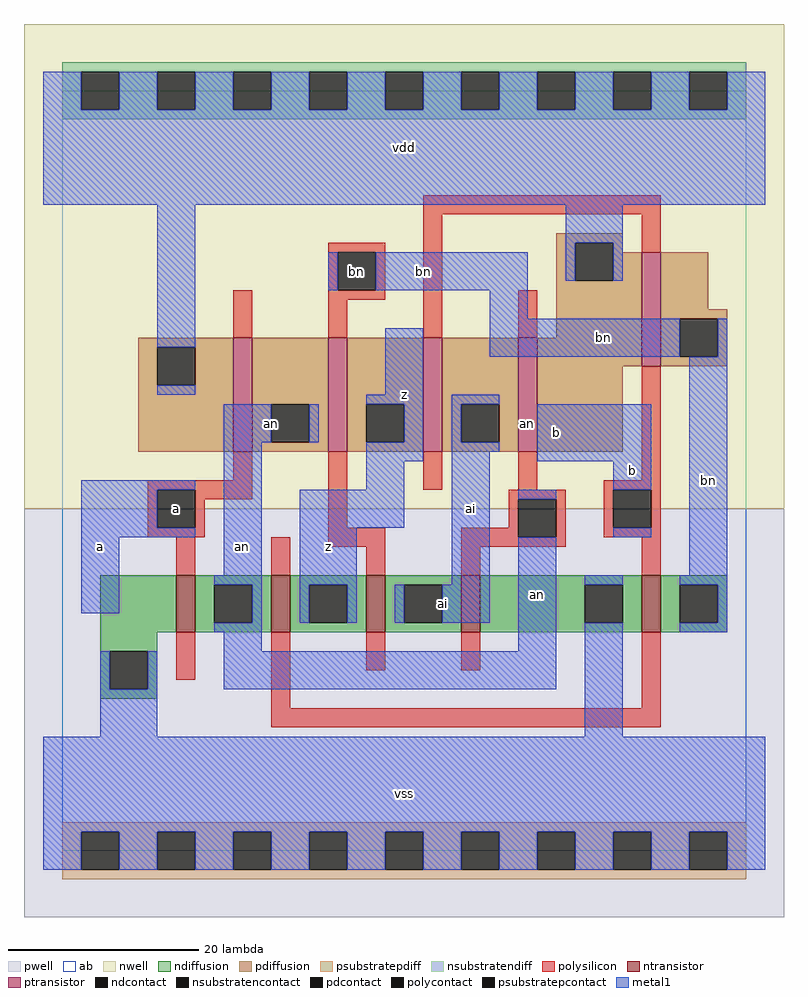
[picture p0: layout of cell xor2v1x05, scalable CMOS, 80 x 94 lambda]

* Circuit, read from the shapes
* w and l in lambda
.subckt xor2v1x05 a ai an b bn vdd vss z
M1 an a vss vss nfet w=6 l=2
M2 z b an vss nfet w=6 l=2
M3 ai bn z vss nfet w=6 l=2
M4 vss an ai vss nfet w=6 l=2
M5 bn b vss vss nfet w=6 l=2
M6 an a vdd vdd pfet w=12 l=2
M7 z bn an vdd pfet w=12 l=2
M8 ai b z vdd pfet w=12 l=2
M9 vdd an ai vdd pfet w=12 l=2
M10 bn b vdd vdd pfet w=12 l=2
.ends

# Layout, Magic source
magic
tech scmos
<< ab >>
rect 0 0 72 80
<< pwell >>
rect -4 -7 76 36
<< nwell >>
rect -4 36 76 87
<< polysilicon >>
rect 38 67 63 69
rect 28 63 34 64
rect 28 59 29 63
rect 33 59 34 63
rect 18 54 20 59
rect 28 58 34 59
rect 28 54 30 58
rect 38 54 40 67
rect 61 63 63 67
rect 48 54 50 59
rect 18 39 20 42
rect 9 38 20 39
rect 9 34 10 38
rect 14 37 20 38
rect 14 34 15 37
rect 9 33 15 34
rect 28 34 30 42
rect 38 38 40 42
rect 48 38 50 42
rect 61 39 63 51
rect 57 38 63 39
rect 47 37 53 38
rect 47 34 48 37
rect 12 29 14 33
rect 22 29 24 33
rect 28 32 34 34
rect 32 29 34 32
rect 42 33 48 34
rect 52 33 53 37
rect 57 34 58 38
rect 62 34 63 38
rect 57 33 63 34
rect 42 32 53 33
rect 42 29 44 32
rect 61 29 63 33
rect 12 18 14 23
rect 22 15 24 23
rect 32 19 34 23
rect 42 19 44 23
rect 61 15 63 23
rect 22 13 63 15
<< ndiffusion >>
rect 4 23 12 29
rect 14 28 22 29
rect 14 24 16 28
rect 20 24 22 28
rect 14 23 22 24
rect 24 28 32 29
rect 24 24 26 28
rect 30 24 32 28
rect 24 23 32 24
rect 34 28 42 29
rect 34 24 36 28
rect 40 24 42 28
rect 34 23 42 24
rect 44 28 61 29
rect 44 24 55 28
rect 59 24 61 28
rect 44 23 61 24
rect 63 28 70 29
rect 63 24 65 28
rect 69 24 70 28
rect 63 23 70 24
rect 4 21 10 23
rect 4 17 5 21
rect 9 17 10 21
rect 4 16 10 17
<< pdiffusion >>
rect 52 64 59 65
rect 52 60 54 64
rect 58 63 59 64
rect 58 60 61 63
rect 52 54 61 60
rect 8 53 18 54
rect 8 49 10 53
rect 14 49 18 53
rect 8 42 18 49
rect 20 47 28 54
rect 20 43 22 47
rect 26 43 28 47
rect 20 42 28 43
rect 30 47 38 54
rect 30 43 32 47
rect 36 43 38 47
rect 30 42 38 43
rect 40 47 48 54
rect 40 43 42 47
rect 46 43 48 47
rect 40 42 48 43
rect 50 51 61 54
rect 63 57 68 63
rect 63 56 70 57
rect 63 52 65 56
rect 69 52 70 56
rect 63 51 70 52
rect 50 42 59 51
<< metal1 >>
rect -2 78 2 82
rect 6 78 10 82
rect 14 78 18 82
rect 22 78 26 82
rect 30 78 34 82
rect 38 78 42 82
rect 46 78 50 82
rect 54 78 58 82
rect 62 78 66 82
rect 70 78 74 82
rect -2 68 74 78
rect 10 53 14 68
rect 53 64 59 68
rect 28 59 29 63
rect 33 59 49 63
rect 53 60 54 64
rect 58 60 59 64
rect 45 56 49 59
rect 10 48 14 49
rect 34 48 38 55
rect 45 52 65 56
rect 69 52 70 56
rect 32 47 38 48
rect 17 43 22 47
rect 26 43 27 47
rect 36 43 38 47
rect 2 38 14 39
rect 2 34 10 38
rect 2 33 14 34
rect 2 25 6 33
rect 17 29 21 43
rect 32 41 38 43
rect 41 47 46 48
rect 41 43 42 47
rect 41 42 46 43
rect 32 38 36 41
rect 16 28 21 29
rect 20 24 21 28
rect 25 34 36 38
rect 25 28 31 34
rect 41 28 45 42
rect 50 41 62 47
rect 58 38 62 41
rect 25 24 26 28
rect 30 24 31 28
rect 35 24 36 28
rect 40 24 45 28
rect 48 37 52 38
rect 58 33 62 34
rect 16 23 21 24
rect 17 21 21 23
rect 48 21 52 33
rect 66 29 70 52
rect 4 17 5 21
rect 9 17 10 21
rect 17 17 52 21
rect 55 28 59 29
rect 4 12 10 17
rect 55 12 59 24
rect 65 28 70 29
rect 69 24 70 28
rect 65 23 70 24
rect -2 2 74 12
rect -2 -2 2 2
rect 6 -2 10 2
rect 14 -2 18 2
rect 22 -2 26 2
rect 30 -2 34 2
rect 38 -2 42 2
rect 46 -2 50 2
rect 54 -2 58 2
rect 62 -2 66 2
rect 70 -2 74 2
<< ntransistor >>
rect 12 23 14 29
rect 22 23 24 29
rect 32 23 34 29
rect 42 23 44 29
rect 61 23 63 29
<< ptransistor >>
rect 18 42 20 54
rect 28 42 30 54
rect 38 42 40 54
rect 48 42 50 54
rect 61 51 63 63
<< polycontact >>
rect 29 59 33 63
rect 10 34 14 38
rect 48 33 52 37
rect 58 34 62 38
<< ndcontact >>
rect 16 24 20 28
rect 26 24 30 28
rect 36 24 40 28
rect 55 24 59 28
rect 65 24 69 28
rect 5 17 9 21
<< pdcontact >>
rect 54 60 58 64
rect 10 49 14 53
rect 22 43 26 47
rect 32 43 36 47
rect 42 43 46 47
rect 65 52 69 56
<< psubstratepcontact >>
rect 2 -2 6 2
rect 10 -2 14 2
rect 18 -2 22 2
rect 26 -2 30 2
rect 34 -2 38 2
rect 42 -2 46 2
rect 50 -2 54 2
rect 58 -2 62 2
rect 66 -2 70 2
<< nsubstratencontact >>
rect 2 78 6 82
rect 10 78 14 82
rect 18 78 22 82
rect 26 78 30 82
rect 34 78 38 82
rect 42 78 46 82
rect 50 78 54 82
rect 58 78 62 82
rect 66 78 70 82
<< psubstratepdiff >>
rect 0 2 72 3
rect 0 -2 2 2
rect 6 -2 10 2
rect 14 -2 18 2
rect 22 -2 26 2
rect 30 -2 34 2
rect 38 -2 42 2
rect 46 -2 50 2
rect 54 -2 58 2
rect 62 -2 66 2
rect 70 -2 72 2
rect 0 -3 72 -2
<< nsubstratendiff >>
rect 0 82 72 83
rect 0 78 2 82
rect 6 78 10 82
rect 14 78 18 82
rect 22 78 26 82
rect 30 78 34 82
rect 38 78 42 82
rect 46 78 50 82
rect 54 78 58 82
rect 62 78 66 82
rect 70 78 72 82
rect 0 77 72 78
<< labels >>
rlabel polycontact 31 61 31 61 6 bn
rlabel ptransistor 49 45 49 45 6 an
rlabel metal1 4 32 4 32 6 a
rlabel metal1 19 32 19 32 6 an
rlabel polycontact 12 36 12 36 6 a
rlabel metal1 22 45 22 45 6 an
rlabel metal1 36 6 36 6 6 vss
rlabel metal1 28 32 28 32 6 z
rlabel metal1 36 48 36 48 6 z
rlabel metal1 36 74 36 74 6 vdd
rlabel metal1 40 26 40 26 6 ai
rlabel metal1 50 27 50 27 6 an
rlabel metal1 52 44 52 44 6 b
rlabel metal1 43 36 43 36 6 ai
rlabel metal1 38 61 38 61 6 bn
rlabel metal1 60 40 60 40 6 b
rlabel metal1 68 39 68 39 6 bn
rlabel metal1 57 54 57 54 6 bn
<< end >>
